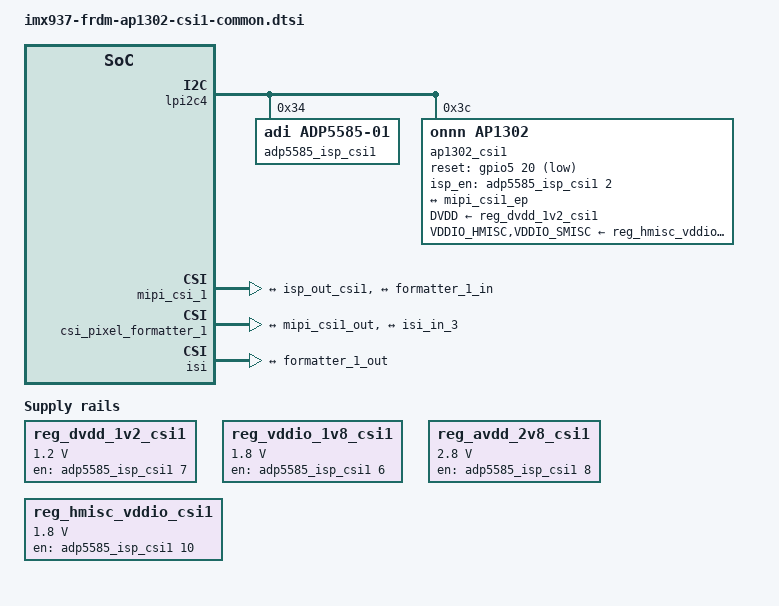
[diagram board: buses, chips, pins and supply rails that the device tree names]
// SPDX-License-Identifier: (GPL-2.0+ OR MIT)
/*
 * Copyright 2026 NXP
 */

#include <dt-bindings/gpio/gpio.h>
#include "imx952-clock.h"

&{/} {
	reg_dvdd_1v2_csi1: regulator-dvdd-csi1 {
		compatible = "regulator-fixed";
		regulator-name = "DVDD_1V2_CSI1";
		gpio = <&adp5585_isp_csi1 7 GPIO_ACTIVE_HIGH>;
		regulator-min-microvolt = <1200000>;
		regulator-max-microvolt = <1200000>;
		enable-active-high;
	};

	reg_vddio_1v8_csi1: regulator-vddo-csi1 {
		compatible = "regulator-fixed";
		regulator-name = "VDDIO_1V8_CSI1";
		gpio = <&adp5585_isp_csi1 6 GPIO_ACTIVE_HIGH>;
		regulator-min-microvolt = <1800000>;
		regulator-max-microvolt = <1800000>;
		enable-active-high;
	};

	reg_avdd_2v8_csi1: regulator-avdd-csi1 {
		compatible = "regulator-fixed";
		regulator-name = "AVDD_2V8_CSI1";
		gpio = <&adp5585_isp_csi1 8 GPIO_ACTIVE_HIGH>;
		regulator-min-microvolt = <2800000>;
		regulator-max-microvolt = <2800000>;
		enable-active-high;
	};

	reg_hmisc_vddio_csi1: regulator-hmisc-vddio-csi1 {
		compatible = "regulator-fixed";
		regulator-name = "HMISC_VDDIO_1V8_CSI1";
		gpio = <&adp5585_isp_csi1 10 GPIO_ACTIVE_HIGH>;
		regulator-min-microvolt = <1800000>;
		regulator-max-microvolt = <1800000>;
		enable-active-high;
	};
};

&lpi2c4 {
	#address-cells = <1>;
	#size-cells = <0>;
	status = "okay";

	adp5585_isp_csi1: io-expander-isp-csi1@34 {
		compatible = "adi,adp5585-01", "adi,adp5585";
		reg = <0x34>;
		gpio-controller;
		#gpio-cells = <2>;
		#pwm-cells = <3>;
	};

	ap1302_csi1: ap1302-mipi-csi1@3c {
		compatible = "onnn,ap1302";
		reg = <0x3c>;
		clocks = <&scmi_clk IMX952_CLK_OSC24M>;
		reset-gpios = <&gpio5 20 GPIO_ACTIVE_LOW>;
		isp_en-gpios = <&adp5585_isp_csi1 2 GPIO_ACTIVE_HIGH>;
		orientation = <2>;
		rotation = <0>;
		DVDD-supply = <&reg_dvdd_1v2_csi1>;
		VDDIO_HMISC-supply = <&reg_hmisc_vddio_csi1>;
		VDDIO_SMISC-supply = <&reg_hmisc_vddio_csi1>;
		status = "okay";

		ports {
			#address-cells = <1>;
			#size-cells = <0>;

			port@0 {
				reg = <0>;
			};

			port@1 {
				reg = <1>;
			};

			port@2 {
				reg = <2>;

				isp_out_csi1: endpoint {
					remote-endpoint = <&mipi_csi1_ep>;
					data-lanes = DATA_LANES;
				};
			};
		};

		sensors {
			#address-cells = <1>;
			#size-cells = <0>;

			onnn,model = "onnn,ar0144";

			sensor@0 {
				reg = <0>;

				vdd-supply = <&reg_dvdd_1v2_csi1>;
				vddio-supply = <&reg_vddio_1v8_csi1>;
				vaa-supply = <&reg_avdd_2v8_csi1>;
			};
		};
	};
};

&mipi_csi_1 {
	status = "okay";

	ports {
		#address-cells = <1>;
		#size-cells = <0>;

		port@0 {
			reg = <0>;

			mipi_csi1_ep: endpoint {
				remote-endpoint = <&isp_out_csi1>;
				data-lanes = DATA_LANES;
				clock-lanes = <0>;
			};
		};

		port@1 {
			reg = <1>;

			mipi_csi1_out: endpoint {
				remote-endpoint = <&formatter_1_in>;
			};
		};
	};
};

&csi_pixel_formatter_1 {
	status = "okay";

	ports {
		#address-cells = <1>;
		#size-cells = <0>;

		port@0 {
			reg = <0>;

			formatter_1_in: endpoint {
				remote-endpoint = <&mipi_csi1_out>;
			};
		};

		port@1 {
			reg = <1>;

			formatter_1_out: endpoint {
				remote-endpoint = <&isi_in_3>;
			};
		};
	};
};

&isi {
	status = "okay";

	ports {
		#address-cells = <1>;
		#size-cells = <0>;

		port@3 {
			reg = <3>;

			isi_in_3: endpoint {
				remote-endpoint = <&formatter_1_out>;
			};
		};
	};
};
